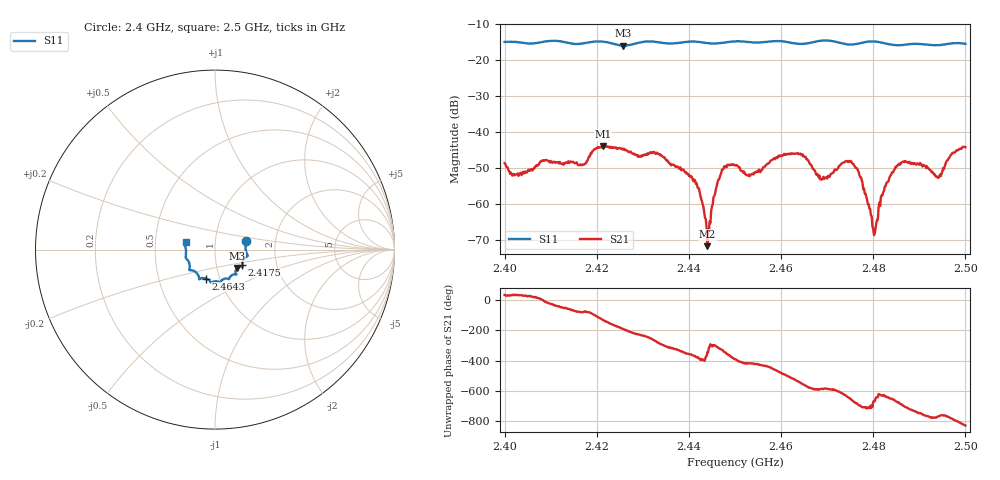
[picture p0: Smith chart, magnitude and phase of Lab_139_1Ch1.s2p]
# Hz S RI R 50
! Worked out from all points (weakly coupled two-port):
!   601 points, 2.4 GHz to 2.5 GHz, reference 50 ohm
!   highest |S21| = -43.89 dB at 2.4213 GHz (marker M1); lowest = -71.7 dB at 2.444 GHz (marker M2)
!   lowest |S11| = -15.9 dB at 2.4257 GHz (marker M3), VSWR 1.38, Z = 62.5 - j13.1 ohm
!   |S11| at or under -10 dB: start of sweep to end of sweep
!   S12 and S22 are empty: the file has one direction only
!   S11 on the Smith chart (normalised r, x): 2.4 GHz: 1.41, +0.14; 2.4175 GHz: 1.34, -0.23; 2.4643 GHz: 0.86, -0.29; 2.5 GHz: 0.72, +0.06
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2.4e9  0.1727 0.0488  0.00312 0.00204  0 0  0 0
2.402167e9  0.1755 0.0397  0.00204 0.00147  0 0  0 0
2.408667e9  0.1796 -0.0263  0.00396 -0.000713  0 0  0 0
2.416667e9  0.1529 -0.0738  0.000608 -0.00342  0 0  0 0
2.4175e9  0.152 -0.0832  0.000974 -0.00355  0 0  0 0
2.421333e9  0.1536 -0.0966  -0.00424 -0.00478  0 0  0 0
2.425667e9  0.1227 -0.1021  -0.00562 0.00107  0 0  0 0
2.433333e9  0.1133 -0.1373  0.00111 0.00488  0 0  0 0
2.441167e9  0.077 -0.165  0.00217 -0.000323  0 0  0 0
2.444e9  0.0635 -0.1609  0.00025 7.43e-05  0 0  0 0
2.447167e9  0.0396 -0.1696  0.00254 0.00163  0 0  0 0
2.45e9  0.0288 -0.1809  0.00299 -0.00172  0 0  0 0
2.453e9  0.0173 -0.1781  0.00138 -0.00219  0 0  0 0
2.464333e9  -0.0497 -0.1611  -0.00486 0.000713  0 0  0 0
2.466667e9  -0.0758 -0.1595  -0.00244 0.00228  0 0  0 0
2.469e9  -0.088 -0.1659  -0.00157 0.00163  0 0  0 0
2.4755e9  -0.1111 -0.1226  0.00202 0.00306  0 0  0 0
2.480333e9  -0.1437 -0.1121  0.000235 0.000317  0 0  0 0
2.483333e9  -0.1409 -0.0902  0.00044 0.00205  0 0  0 0
2.486667e9  -0.1531 -0.0582  0.00365 0.00141  0 0  0 0
2.494167e9  -0.1621 0.000182  0.0016 -0.00168  0 0  0 0
2.5e9  -0.1638 0.043  -0.00174 -0.00593  0 0  0 0
